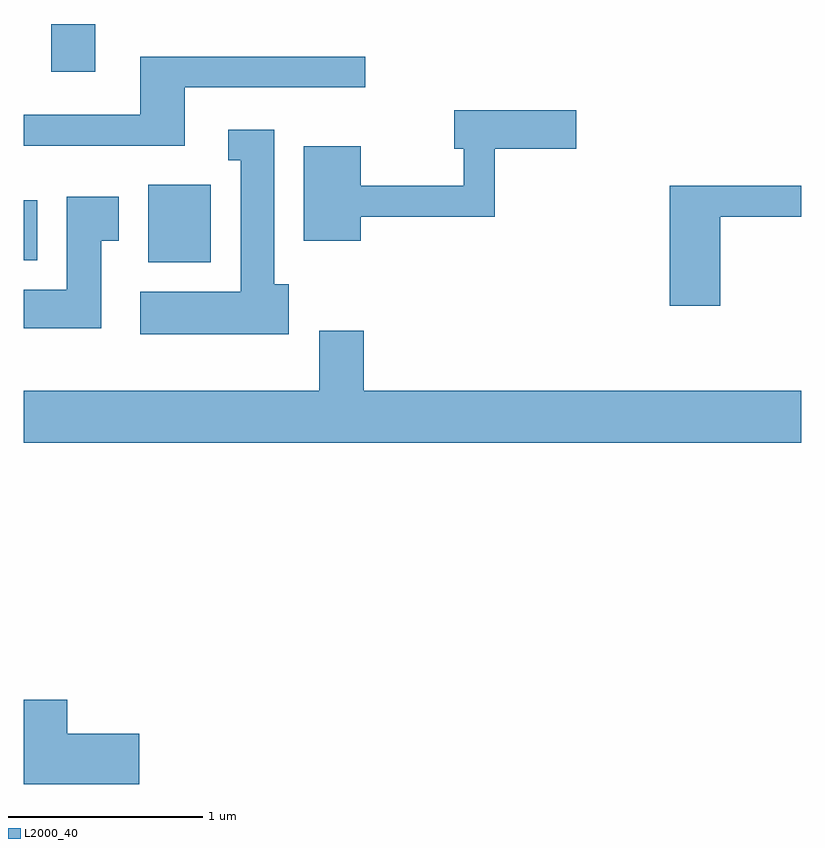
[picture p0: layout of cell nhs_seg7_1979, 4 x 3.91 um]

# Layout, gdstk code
import gdstk
lib = gdstk.Library(unit=1e-6, precision=1e-09)
def R(c, l, rs):  # rectangles x0, y0, x1, y1
    for r in rs: c.add(gdstk.rectangle(r[:2], r[2:], *l))
def P(c, l, *ps):  # polygons
    for p in ps: c.add(gdstk.Polygon(p, *l))
L2000_40 = (2000, 40)

nhs_seg7_1979 = lib.new_cell('nhs_seg7_1979')
R(nhs_seg7_1979, L2000_40, [(246.251,1713.026,246.574,1713.424), (245.611,1713.036,245.679,1713.344), (245.751,1714.006,245.979,1714.252)])
P(nhs_seg7_1979, L2000_40, [(246.439,1713.926),(247.368,1713.926),(247.368,1714.084),(246.211,1714.084),(246.211,1713.784),(245.611,1713.784),(245.611,1713.626),(246.439,1713.626)],
  [(247.344,1713.261),(248.034,1713.261),(248.034,1713.611),(248.454,1713.611),(248.454,1713.809),(247.826,1713.809),(247.826,1713.611),(247.876,1713.611),(247.876,1713.419),(247.344,1713.419),(247.344,1713.624),(247.051,1713.624),(247.051,1713.136),(247.344,1713.136)],
  [(246.974,1712.914),(246.899,1712.914),(246.899,1713.709),(246.663,1713.709),(246.663,1713.551),(246.726,1713.551),(246.726,1712.874),(246.211,1712.874),(246.211,1712.656),(246.974,1712.656)],
  [(249.194,1713.261),(249.611,1713.261),(249.611,1713.419),(248.936,1713.419),(248.936,1712.801),(249.194,1712.801)],
  [(246.009,1713.136),(246.099,1713.136),(246.099,1713.364),(245.831,1713.364),(245.831,1712.884),(245.611,1712.884),(245.611,1712.686),(246.009,1712.686)],
  [(249.611,1712.364),(247.359,1712.364),(247.359,1712.674),(247.131,1712.674),(247.131,1712.364),(245.611,1712.364),(245.611,1712.096),(249.611,1712.096)],
  [(246.204,1710.599),(245.834,1710.599),(245.834,1710.774),(245.611,1710.774),(245.611,1710.341),(246.204,1710.341)])

lib.write_gds('nhs_seg7_1979.gds')
